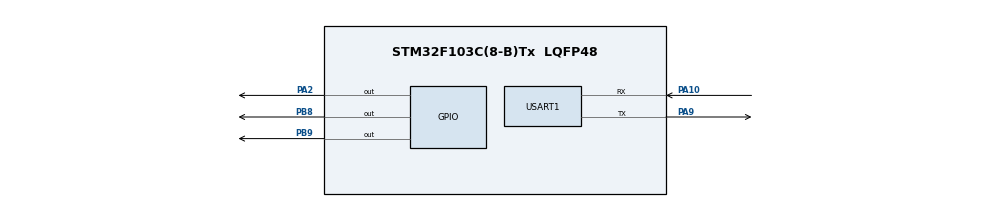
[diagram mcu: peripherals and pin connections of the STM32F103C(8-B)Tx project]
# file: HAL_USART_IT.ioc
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Mcu.Family=STM32F1
Mcu.Name=STM32F103C(8-B)Tx
Mcu.Package=LQFP48
NVIC.PriorityGroup=NVIC_PRIORITYGROUP_4
NVIC.USART1_IRQn=true\:0\:0\:false\:false\:true\:true\:true\:true
PA10.Mode=Asynchronous
PA10.Signal=USART1_RX
PA13.Mode=Serial_Wire
PA13.Signal=SYS_JTMS-SWDIO
PA14.Mode=Serial_Wire
PA14.Signal=SYS_JTCK-SWCLK
PA2.Signal=GPIO_Output
PA9.Mode=Asynchronous
PA9.Signal=USART1_TX
PB8.GPIO_ModeDefaultOutputPP=GPIO_MODE_OUTPUT_OD
PB8.GPIO_PuPd=GPIO_NOPULL
PB8.GPIO_Speed=GPIO_SPEED_FREQ_HIGH
PB8.PinState=GPIO_PIN_SET
PB8.Signal=GPIO_Output
PB9.GPIO_ModeDefaultOutputPP=GPIO_MODE_OUTPUT_OD
PB9.GPIO_PuPd=GPIO_NOPULL
PB9.GPIO_Speed=GPIO_SPEED_FREQ_HIGH
PB9.PinState=GPIO_PIN_SET
PB9.Signal=GPIO_Output
ProjectManager.HeapSize=0x200
ProjectManager.StackSize=0x400
ProjectManager.TargetToolchain=MDK-ARM V5.32
RCC.APB1Freq_Value=8000000
RCC.APB2Freq_Value=8000000
USART1.VirtualMode=VM_ASYNC
board=custom

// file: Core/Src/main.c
/* USER CODE BEGIN Header */
/**
  ******************************************************************************
  * @file           : main.c
  * @brief          : Main program body
  ******************************************************************************
  * @attention
  *
  * Copyright (c) 2026 STMicroelectronics.
  * All rights reserved.
  *
  * This software is licensed under terms that can be found in the LICENSE file
  * in the root directory of this software component.
  * If no LICENSE file comes with this software, it is provided AS-IS.
  *
  ******************************************************************************
  */
/* USER CODE END Header */
#include "main.h"

UART_HandleTypeDef huart1;

/* USER CODE BEGIN PV */
		uint8_t RxData = 0;
		volatile uint32_t interval = 1000;

/* USER CODE END PV */

void SystemClock_Config(void);
static void MX_GPIO_Init(void);
static void MX_USART1_UART_Init(void);

int main(void)
{

  /* MCU Configuration--------------------------------------------------------*/

  /* Reset of all peripherals, Initializes the Flash interface and the Systick. */
  HAL_Init();

  /* Configure the system clock */
  SystemClock_Config();

  /* Initialize all configured peripherals */
  MX_GPIO_Init();
  MX_USART1_UART_Init();
  /* USER CODE BEGIN 2 */
		uint32_t LastTime = 0;

		HAL_UART_Receive_IT(&huart1,&RxData,1);
  /* USER CODE END 2 */

  /* Infinite loop */
  /* USER CODE BEGIN WHILE */
  while (1)
  {
		uint32_t now = HAL_GetTick();
		if(now - LastTime >= interval){
				LastTime = now;
				HAL_GPIO_TogglePin(GPIOA,GPIO_PIN_2);

		}
    /* USER CODE END WHILE */

  }
}

void SystemClock_Config(void)
{
  RCC_OscInitTypeDef RCC_OscInitStruct = {0};
  RCC_ClkInitTypeDef RCC_ClkInitStruct = {0};

  /** Initializes the RCC Oscillators according to the specified parameters
  * in the RCC_OscInitTypeDef structure.
  */
  RCC_OscInitStruct.OscillatorType = RCC_OSCILLATORTYPE_HSI;
  RCC_OscInitStruct.HSIState = RCC_HSI_ON;
  RCC_OscInitStruct.HSICalibrationValue = RCC_HSICALIBRATION_DEFAULT;
  RCC_OscInitStruct.PLL.PLLState = RCC_PLL_NONE;
  if (HAL_RCC_OscConfig(&RCC_OscInitStruct) != HAL_OK)
  {
    Error_Handler();
  }

  /** Initializes the CPU, AHB and APB buses clocks
  */
  RCC_ClkInitStruct.ClockType = RCC_CLOCKTYPE_HCLK|RCC_CLOCKTYPE_SYSCLK
                              |RCC_CLOCKTYPE_PCLK1|RCC_CLOCKTYPE_PCLK2;
  RCC_ClkInitStruct.SYSCLKSource = RCC_SYSCLKSOURCE_HSI;
  RCC_ClkInitStruct.AHBCLKDivider = RCC_SYSCLK_DIV1;
  RCC_ClkInitStruct.APB1CLKDivider = RCC_HCLK_DIV1;
  RCC_ClkInitStruct.APB2CLKDivider = RCC_HCLK_DIV1;

  if (HAL_RCC_ClockConfig(&RCC_ClkInitStruct, FLASH_LATENCY_0) != HAL_OK)
  {
    Error_Handler();
  }
}

static void MX_USART1_UART_Init(void)
{

  huart1.Instance = USART1;
  huart1.Init.BaudRate = 115200;
  huart1.Init.WordLength = UART_WORDLENGTH_8B;
  huart1.Init.StopBits = UART_STOPBITS_1;
  huart1.Init.Parity = UART_PARITY_NONE;
  huart1.Init.Mode = UART_MODE_TX_RX;
  huart1.Init.HwFlowCtl = UART_HWCONTROL_NONE;
  huart1.Init.OverSampling = UART_OVERSAMPLING_16;
  if (HAL_UART_Init(&huart1) != HAL_OK)
  {
    Error_Handler();
  }

}

static void MX_GPIO_Init(void)
{
  GPIO_InitTypeDef GPIO_InitStruct = {0};

  /* GPIO Ports Clock Enable */
  __HAL_RCC_GPIOA_CLK_ENABLE();
  __HAL_RCC_GPIOB_CLK_ENABLE();

  /*Configure GPIO pin Output Level */
  HAL_GPIO_WritePin(GPIOA, GPIO_PIN_2, GPIO_PIN_RESET);

  /*Configure GPIO pin Output Level */
  HAL_GPIO_WritePin(GPIOB, GPIO_PIN_8|GPIO_PIN_9, GPIO_PIN_SET);

  /*Configure GPIO pin : PA2 */
  GPIO_InitStruct.Pin = GPIO_PIN_2;
  GPIO_InitStruct.Mode = GPIO_MODE_OUTPUT_PP;
  GPIO_InitStruct.Pull = GPIO_NOPULL;
  GPIO_InitStruct.Speed = GPIO_SPEED_FREQ_LOW;
  HAL_GPIO_Init(GPIOA, &GPIO_InitStruct);

  /*Configure GPIO pins : PB8 PB9 */
  GPIO_InitStruct.Pin = GPIO_PIN_8|GPIO_PIN_9;
  GPIO_InitStruct.Mode = GPIO_MODE_OUTPUT_OD;
  GPIO_InitStruct.Pull = GPIO_NOPULL;
  GPIO_InitStruct.Speed = GPIO_SPEED_FREQ_HIGH;
  HAL_GPIO_Init(GPIOB, &GPIO_InitStruct);

}

/* USER CODE BEGIN 4 */
		void HAL_UART_RxCpltCallback(UART_HandleTypeDef *huart){
				if(huart == &huart1){
						if(RxData == '1'){
							interval = 500;

						}
						else if(RxData == '2'){

							interval = 250;

						}
						else if(RxData == '0'){

							interval = 1000;

						}

			HAL_UART_Receive_IT(&huart1,&RxData,1);
				}

		}

/* USER CODE END 4 */

void Error_Handler(void)
{
  __disable_irq();
  while (1)
  {
  }
}
